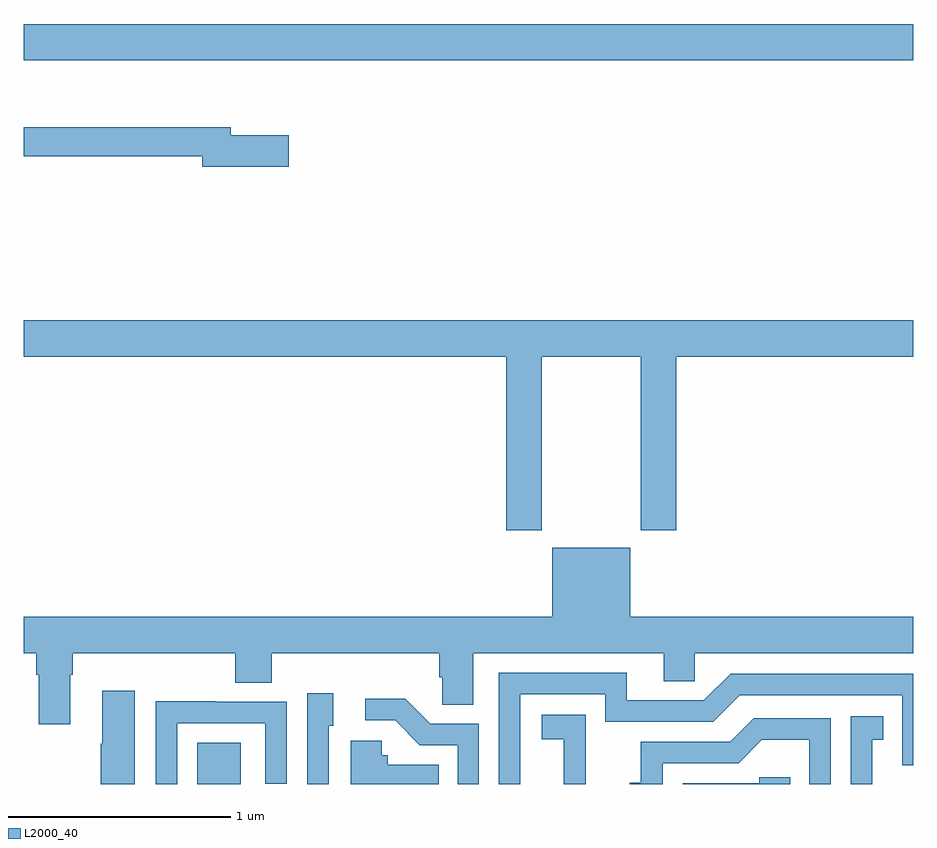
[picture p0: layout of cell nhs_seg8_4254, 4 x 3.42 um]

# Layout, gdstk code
import gdstk
lib = gdstk.Library(unit=1e-6, precision=1e-09)
def R(c, l, rs):  # rectangles x0, y0, x1, y1
    for r in rs: c.add(gdstk.rectangle(r[:2], r[2:], *l))
def P(c, l, *ps):  # polygons
    for p in ps: c.add(gdstk.Polygon(p, *l))
L2000_40 = (2000, 40)

nhs_seg8_4254 = lib.new_cell('nhs_seg8_4254')
R(nhs_seg8_4254, L2000_40, [(371.78,1127.9,371.977,1128.085), (371,1131.152,375,1131.316)])
P(nhs_seg8_4254, L2000_40, [(372.193,1130.817),(371.932,1130.817),(371.932,1130.851),(371,1130.851),(371,1130.722),(371.804,1130.722),(371.804,1130.675),(372.193,1130.675)],
  [(373.329,1129.82),(373.774,1129.82),(373.774,1129.041),(373.934,1129.041),(373.934,1129.82),(375,1129.82),(375,1129.984),(371,1129.984),(371,1129.82),(373.169,1129.82),(373.169,1129.041),(373.329,1129.041)],
  [(371,1128.488),(371.057,1128.488),(371.057,1128.392),(371.069,1128.392),(371.069,1128.168),(371.209,1128.168),(371.209,1128.392),(371.222,1128.392),(371.222,1128.488),(371.951,1128.488),(371.951,1128.355),(372.116,1128.355),(372.116,1128.488),(372.869,1128.488),(372.869,1128.379),(372.882,1128.379),(372.882,1128.256),(373.021,1128.256),(373.021,1128.488),(373.877,1128.488),(373.877,1128.361),(374.016,1128.361),(374.016,1128.488),(375,1128.488),(375,1128.652),(373.726,1128.652),(373.726,1128.961),(373.376,1128.961),(373.376,1128.652),(371,1128.652)],
  [(373.233,1128.303),(373.614,1128.303),(373.614,1128.18),(374.1,1128.18),(374.22,1128.3),(374.949,1128.3),(374.949,1127.985),(375,1127.985),(375,1128.396),(374.178,1128.396),(374.058,1128.276),(373.711,1128.276),(373.711,1128.399),(373.137,1128.399),(373.137,1127.9),(373.233,1127.9)],
  [(371.5,1128.319),(371.354,1128.319),(371.354,1128.08),(371.347,1128.08),(371.347,1127.9),(371.5,1127.9)],
  [(372.372,1128.162),(372.391,1128.162),(372.391,1128.307),(372.276,1128.307),(372.276,1127.9),(372.372,1127.9)],
  [(373.047,1128.171),(372.828,1128.171),(372.715,1128.284),(372.537,1128.284),(372.537,1128.186),(372.671,1128.186),(372.782,1128.075),(372.951,1128.075),(372.951,1127.9),(373.047,1127.9)],
  [(371.691,1128.174),(372.087,1128.174),(372.087,1127.901),(372.183,1127.901),(372.183,1128.27),(371.867,1128.27),(371.867,1128.272),(371.595,1128.272),(371.595,1127.9),(371.691,1127.9)],
  [(373.526,1128.005),(373.527,1128.005),(373.527,1128.211),(373.329,1128.211),(373.329,1128.101),(373.427,1128.101),(373.427,1127.9),(373.526,1127.9)],
  [(374.815,1128.099),(374.864,1128.099),(374.864,1128.205),(374.718,1128.205),(374.718,1127.9),(374.815,1127.9)],
  [(373.872,1127.994),(374.214,1127.994),(374.318,1128.098),(374.532,1128.098),(374.532,1127.9),(374.628,1127.9),(374.628,1128.195),(374.282,1128.195),(374.177,1128.09),(373.774,1128.09),(373.774,1127.905),(373.725,1127.905),(373.725,1127.9),(373.872,1127.9)],
  [(372.866,1127.986),(372.636,1127.986),(372.636,1128.03),(372.609,1128.03),(372.609,1128.094),(372.47,1128.094),(372.47,1127.9),(372.866,1127.9)],
  [(374.447,1127.931),(374.307,1127.931),(374.307,1127.904),(373.962,1127.904),(373.962,1127.9),(374.447,1127.9)])

lib.write_gds('nhs_seg8_4254.gds')
